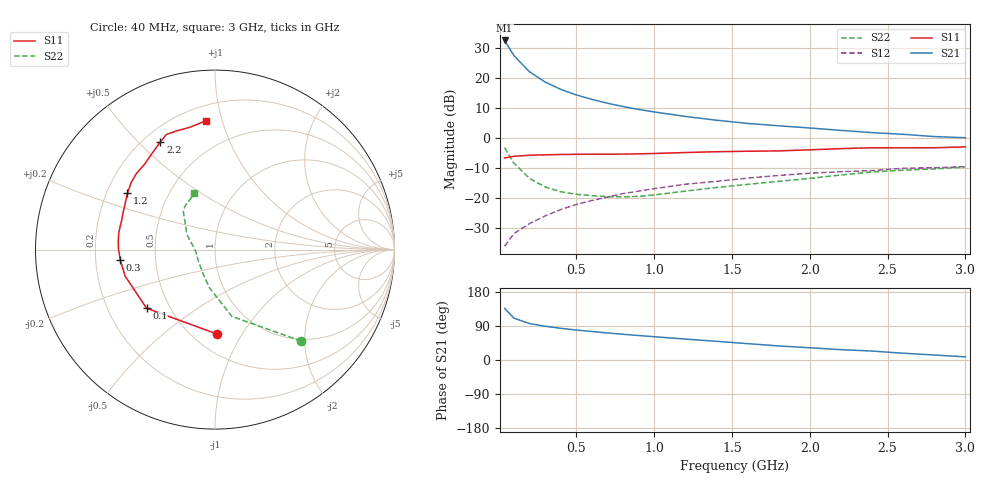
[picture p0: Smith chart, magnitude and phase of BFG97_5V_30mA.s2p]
! Filename:  BFG97B.S2P  Version:  2.0
! Philips part #: BFG97  Date: Jul 1990
! Bias condition: Vce=5V, Ic=30mA
#  MHz  S  MA  R  50
! Freq  S11  S21  S12  S22  !GUM [dB]
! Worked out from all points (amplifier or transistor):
!   21 points, 40 MHz to 3 GHz, reference 50 ohm
!   highest |S21| = 32.6 dB at 40 MHz (marker M1)
!   |S21| within 3 dB of that: start of sweep to 75.55 MHz
!   unconditionally stable (mu >= 1): 297.6 MHz to end of sweep
!   at 300 MHz: K = 1.00, MAG = 22.0 dB, |S12| = -25.8 dB
!   at 1 GHz: K = 1.11, MAG = 10.8 dB, |S12| = -16.8 dB
!   at 3 GHz: K = 1.02, MAG = 4.0 dB, |S12| = -9.4 dB
!   S11 on the Smith chart (normalised r, x): 40 MHz: 0.65, -0.79; 100 MHz: 0.37, -0.32; 300 MHz: 0.31, -0.05; 1.2 GHz: 0.29, +0.27; 2.2 GHz: 0.27, +0.58; 3 GHz: 0.30, +0.88
40  0.471 -88.5  42.59 136.2  0.016 64.6  0.7 -46.7
100  0.502 -139.4  23.77 110.4  0.026 57.0  0.384 -75.8
200  0.522 -163.6  12.79 96.2  0.038 61.4  0.215 -98.2
300  0.531 -173.9  8.665 89.1  0.051 64.7  0.155 -114.1
400  0.538 179.5  6.544 83.7  0.065 66.3  0.129 -127.2
500  0.541 174.8  5.282 79.1  0.079 67.2  0.117 -138.9
600  0.544 170.5  4.453 75.3  0.092 67.0  0.111 -148.3
700  0.544 166.3  3.843 71.4  0.105 66.8  0.107 -156.7
800  0.545 162.3  3.387 67.9  0.12 66.2  0.106 -165.6
900  0.552 158.1  3.026 64.6  0.132 65.3  0.108 -173.8
1000  0.559 154.2  2.752 61.5  0.145 64.2  0.114 178.2
1200  0.58 147.3  2.315 55.2  0.172 61.7  0.132 166.4
1400  0.598 141.3  2.003 49.4  0.192 58.9  0.152 158.8
1600  0.609 136.2  1.77 43.2  0.217 57.1  0.171 153.2
1800  0.617 129.4  1.617 37.1  0.241 52.6  0.192 146.6
2000  0.643 122.6  1.486 32.3  0.262 50.8  0.215 139.7
2200  0.673 116.9  1.355 27.3  0.278 47.6  0.245 134.3
2400  0.696 112.9  1.245 23.6  0.29 46.5  0.275 129.8
2600  0.695 107.9  1.165 17.9  0.317 42.5  0.295 124.5
2800  0.696 101.4  1.069 13.2  0.324 38.1  0.309 117.5
3000  0.719 94.2  1.022 8.4  0.338 36.2  0.333 110.1
